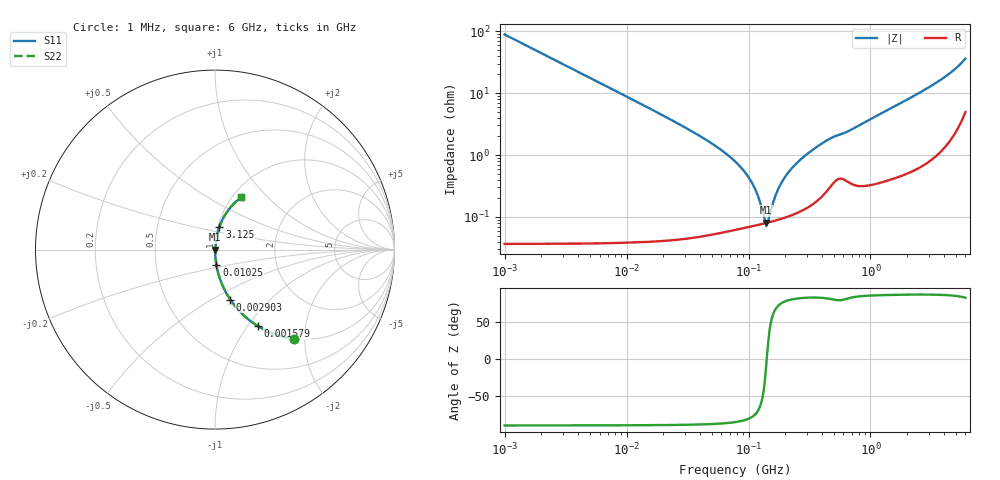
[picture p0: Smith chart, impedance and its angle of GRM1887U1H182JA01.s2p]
!Murata Part Number: GRM1887U1H182JA01
!These Parameters are Measured in Series Mode Connection
!Data Generated on Mar 30, 2021
!  o--ll--o
!Port1  Port2
!  o------o
!Operation Temp=25[degC], DC Bias Voltage=0[V]
!Freq. Start=1000[kHz] Stop=6[GHz] 401[Steps]
# Hz S RI R 50
!Freq.(Hz) S11(Real) S11(Imag) S21(Real) S21(Imag) S12(Real) S12(Imag) S22(Real) S22(Imag)
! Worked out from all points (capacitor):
!   401 points, 1 MHz to 6 GHz, reference 50 ohm
!   read as one part in series: C = 1.8 nF near 1.044 MHz
!   lowest |Z| = 81.3 mohm at 139.3 MHz (marker M1)
!   series resonance near 141.1 MHz, so ESL is about 710 pH
!   S11 on the Smith chart (normalised r, x): 1 MHz: 1.00, -1.77; 1.579 MHz: 1.00, -1.12; 2.903 MHz: 1.00, -0.61; 10.25 MHz: 1.00, -0.17; 3.125 GHz: 1.02, +0.26; 6 GHz: 1.10, +0.72
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1000000  0.4388 -0.496  0.5612 0.496  0.5612 0.496  0.4388 -0.496
1578894  0.2388 -0.426  0.7612 0.426  0.7612 0.426  0.2388 -0.426
2902843  0.0851 -0.2784  0.9149 0.2784  0.9149 0.2784  0.0851 -0.2784
4293785  0.0409 -0.1972  0.9591 0.1972  0.9591 0.1972  0.0409 -0.1972
1.024839e7  0.00768 -0.0851  0.9923 0.0851  0.9923 0.0851  0.00768 -0.0851
1.843659e7  0.00261 -0.0469  0.9974 0.0469  0.9974 0.0469  0.00261 -0.0469
4.596069e7  0.000792 -0.0171  0.9992 0.0171  0.9992 0.0171  0.000792 -0.0171
7.745967e7  0.000677 -0.00787  0.9993 0.00787  0.9993 0.00787  0.000677 -0.00787
1.073387e8  0.000719 -0.00341  0.9993 0.00341  0.9993 0.00341  0.000719 -0.00341
1.196694e8  0.000747 -0.00204  0.9993 0.00204  0.9993 0.00204  0.000747 -0.00204
1.334167e8  0.000781 -0.00069  0.9992 0.00069  0.9992 0.00069  0.000781 -0.00069
1.39348e8  0.000797 -0.000155  0.9992 0.000155  0.9992 0.000155  0.000797 -0.000155
1.455431e8  0.000815 0.000379  0.9992 -0.000379  0.9992 -0.000379  0.000815 0.000379
1.694764e8  0.000888 0.00226  0.9991 -0.00226  0.9991 -0.00226  0.000888 0.00226
1.973453e8  0.000985 0.00419  0.999 -0.00419  0.999 -0.00419  0.000985 0.00419
2.452905e8  0.00119 0.00712  0.9988 -0.00712  0.9988 -0.00712  0.00119 0.00712
3.325952e8  0.00172 0.0118  0.9983 -0.0118  0.9983 -0.0118  0.00172 0.0118
4.710229e8  0.00343 0.0182  0.9966 -0.0182  0.9966 -0.0182  0.00343 0.0182
1.428092e9  0.0069 0.0544  0.9931 -0.0544  0.9931 -0.0544  0.0069 0.0544
3.124567e9  0.0242 0.1253  0.9758 -0.1253  0.9758 -0.1253  0.0242 0.1253
4.621753e9  0.0616 0.2021  0.9384 -0.2021  0.9384 -0.2021  0.0616 0.2021
6e9  0.1464 0.2913  0.8536 -0.2913  0.8536 -0.2913  0.1464 0.2913
